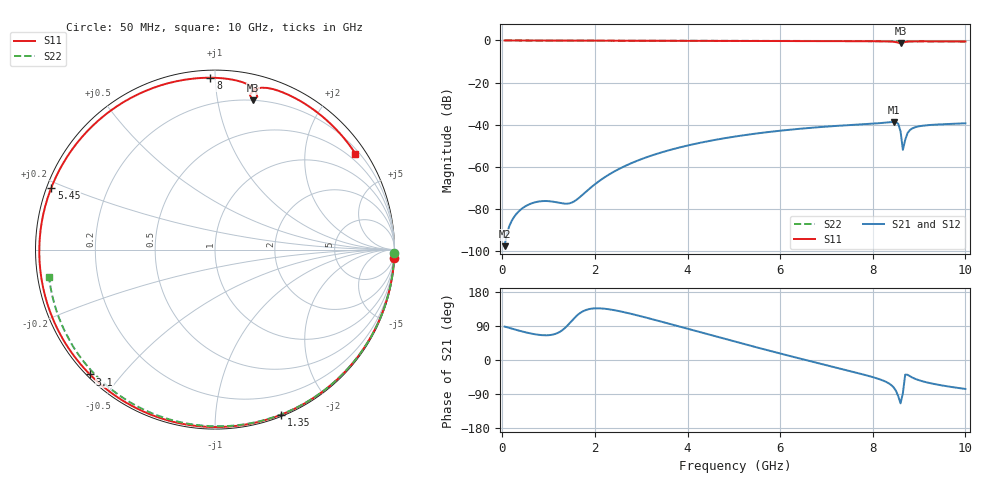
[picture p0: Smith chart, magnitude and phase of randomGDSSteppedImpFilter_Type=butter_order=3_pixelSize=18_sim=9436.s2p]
! freq	dB(S11)	phase(S11)	dB(S12)	phase(S12)
!  dB(S21)	phase(S21)	dB(S22)	phase(S22)
!S-par simulation data
#  GHz  S  DB  R 50
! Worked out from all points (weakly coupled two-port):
!   200 points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, 50 MHz to 10 GHz, reference 50 ohm
!   highest |S21| = -38.64 dB at 8.45 GHz (marker M1); lowest = -97.6 dB at 50 MHz (marker M2)
!   lowest |S11| = -1.3 dB at 8.6 GHz (marker M3), VSWR 13.05, Z = 10.1 + j63.3 ohm
!   |S11| at or under -10 dB: nowhere
!   |S22| runs from -0.6 to 0.0 dB; largest |S21 - S12| = 0
!   S11 on the Smith chart (normalised r, x): 50 MHz: 0, -42; 1.35 GHz: 0.01, -1.48; 3.1 GHz: 0.01, -0.41; 5.45 GHz: 0.01, +0.18; 8 GHz: 0.04, +0.97; 10 GHz: 0.31, +3.21
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0.05  -0.00 -2.7  -97.59 88.2  -97.59 88.2  -0.00 -1.0
0.4  -0.03 -21.3  -80.20 76.2  -80.20 76.2  -0.01 -7.8
0.6  -0.04 -31.7  -77.56 70.4  -77.56 70.4  -0.02 -11.6
0.9  -0.06 -46.8  -76.18 65.3  -76.18 65.3  -0.02 -17.4
1.35  -0.08 -68.2  -77.44 84.1  -77.44 84.1  -0.03 -26.0
1.75  -0.10 -85.7  -72.89 129.0  -72.89 129.0  -0.04 -33.6
2.35  -0.12 -109.3  -63.01 132.9  -63.01 132.9  -0.06 -44.7
3.1  -0.13 -135.1  -55.52 112.1  -55.52 112.1  -0.08 -58.3
3.4  -0.14 -144.4  -53.35 102.4  -53.35 102.4  -0.08 -63.6
4.2  -0.17 -167.6  -48.87 75.8  -48.87 75.8  -0.11 -77.5
5.05  -0.20 169.7  -45.50 47.7  -45.50 47.7  -0.14 -91.7
5.45  -0.22 159.3  -44.25 34.7  -44.25 34.7  -0.16 -98.2
6.7  -0.28 127.0  -41.37 -4.6  -41.37 -4.6  -0.23 -118.1
8  -0.37 91.5  -39.46 -45.2  -39.46 -45.2  -0.33 -138.4
8.35  -0.49 80.8  -38.82 -61.9  -38.82 -61.9  -0.37 -143.9
8.45  -0.63 77.3  -38.64 -72.2  -38.64 -72.2  -0.38 -145.5
8.55  -1.08 74.5  -39.55 -95.6  -39.55 -95.6  -0.39 -147.1
8.6  -1.33 75.8  -43.14 -114.4  -43.14 -114.4  -0.40 -147.9
8.65  -1.07 77.3  -51.90 -87.7  -51.90 -87.7  -0.41 -148.7
8.75  -0.56 74.1  -43.98 -38.9  -43.98 -38.9  -0.41 -150.2
8.9  -0.42 68.5  -41.29 -48.9  -41.29 -48.9  -0.43 -152.6
10  -0.47 34.4  -39.29 -76.4  -39.29 -76.4  -0.57 -170.6
